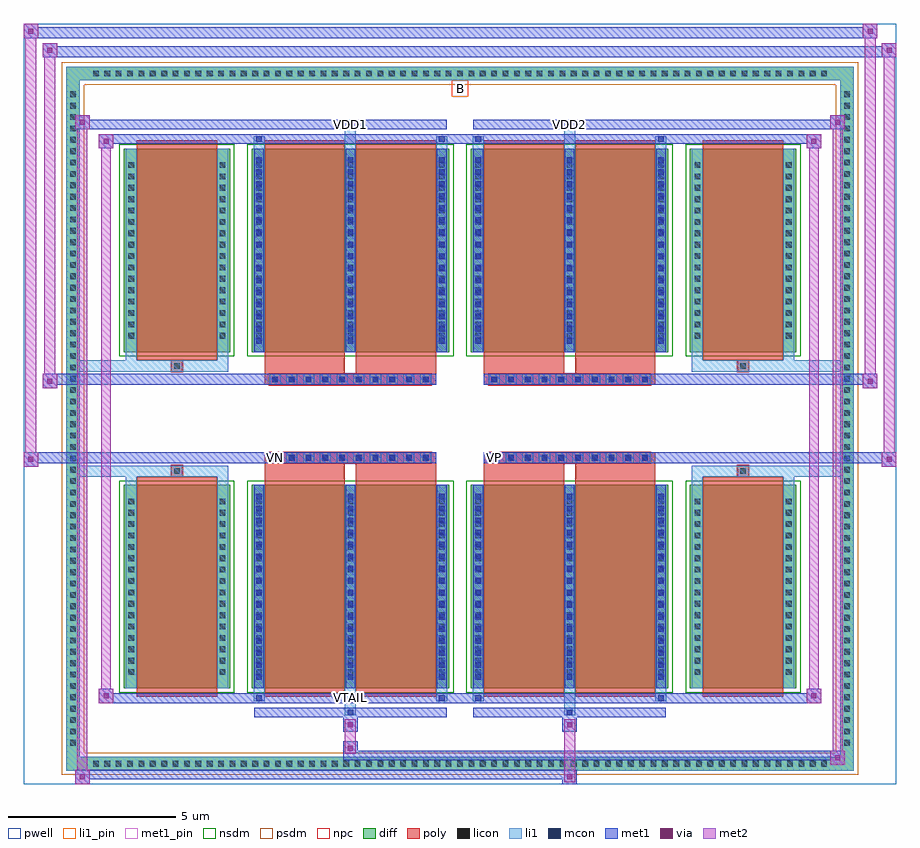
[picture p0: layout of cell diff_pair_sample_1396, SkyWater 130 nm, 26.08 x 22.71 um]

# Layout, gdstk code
import gdstk
lib = gdstk.Library(unit=1e-6, precision=5e-09)
def R(c, l, rs):  # rectangles x0, y0, x1, y1
    for r in rs: c.add(gdstk.rectangle(r[:2], r[2:], *l))
def A(c, l, x, y, w, h, nx, ny, dx, dy):  # array of equal rectangles
    R(c, l, [(x+i*dx, y+j*dy, x+i*dx+w, y+j*dy+h) for i in range(nx) for j in range(ny)])
def P(c, l, *ps):  # polygons
    for p in ps: c.add(gdstk.Polygon(p, *l))
pwell = (64, 44)
diff = (65, 20)
poly = (66, 20)
licon = (66, 44)
li1_pin = (67, 16)
li1 = (67, 20)
mcon = (67, 44)
met1_pin = (68, 16)
met1 = (68, 20)
via = (68, 44)
met2 = (69, 20)
nsdm = (93, 44)
psdm = (94, 20)
npc = (95, 20)

diff_pair_sample_1396 = lib.new_cell('diff_pair_sample_1396')
R(diff_pair_sample_1396, pwell, [(-13.04,-10.92,13.04,11.79), (-10.36,-9.11,-0.01,-0.805), (0.01,-9.11,10.36,-0.805), (-10.36,0.805,-0.01,9.11), (0.01,0.805,10.36,9.11)])
A(diff_pair_sample_1396, diff, -11.085, -10.52, 0.41, 0.41, 65, 2, 0.34, 20.63)
A(diff_pair_sample_1396, diff, -11.77, -9.895, 0.41, 0.41, 1, 58, 0, 0.34)
A(diff_pair_sample_1396, diff, 11.36, -9.895, 0.41, 0.41, 1, 58, 0, 0.34)
R(diff_pair_sample_1396, diff, [(-11.085,-10.52,11.085,-10.11), (-11.77,-9.895,-11.36,9.895), (11.36,-9.895,11.77,9.895), (-10.05,-8.065,-6.87,-1.985), (-6.23,-8.065,-0.32,-1.985), (0.32,-8.065,6.23,-1.985), (6.87,-8.065,10.05,-1.985), (-10.05,1.985,-6.87,8.065), (-6.23,1.985,-0.32,8.065), (0.32,1.985,6.23,8.065), (6.87,1.985,10.05,8.065), (-11.085,10.11,11.085,10.52)])
P(diff_pair_sample_1396, diff, [(11.77,10.52),(-11.77,10.52),(-11.77,-10.11),(-11.36,-10.11),(-11.36,10.11),(11.36,10.11),(11.36,-10.11),(-11.36,-10.11),(-11.77,-10.11),(-11.77,-10.52),(11.77,-10.52)])
A(diff_pair_sample_1396, poly, -5.69, -1.335, 0.33, 0.33, 10, 2, 0.5, 2.34)
A(diff_pair_sample_1396, poly, 0.86, -1.335, 0.33, 0.33, 10, 2, 0.5, 2.34)
R(diff_pair_sample_1396, poly, [(-9.66,-8.315,-7.26,-1.735), (-5.84,-8.315,-3.44,-1.735), (-3.11,-8.315,-0.71,-1.735), (0.71,-8.315,3.11,-1.735), (3.44,-8.315,5.84,-1.735), (7.26,-8.315,9.66,-1.735), (-8.625,-1.735,-8.295,-1.405), (-8.625,-1.735,-8.295,-1.405), (-5.84,-1.735,-3.44,-1.335), (-3.11,-1.735,-0.71,-1.335), (0.71,-1.735,3.11,-1.335), (3.44,-1.735,5.84,-1.335), (8.295,-1.735,8.625,-1.405), (8.295,-1.735,8.625,-1.405), (-5.84,-1.335,-0.71,-1.005), (0.71,-1.335,5.84,-1.005), (-5.84,1.005,-0.71,1.335), (0.71,1.005,5.84,1.335), (-5.84,1.335,-3.44,1.735), (-3.11,1.335,-0.71,1.735), (0.71,1.335,3.11,1.735), (3.44,1.335,5.84,1.735), (-8.625,1.405,-8.295,1.735), (-8.625,1.405,-8.295,1.735), (8.295,1.405,8.625,1.735), (8.295,1.405,8.625,1.735), (-9.66,1.735,-7.26,8.315), (-5.84,1.735,-3.44,8.315), (-3.11,1.735,-0.71,8.315), (0.71,1.735,3.11,8.315), (3.44,1.735,5.84,8.315), (7.26,1.735,9.66,8.315)])
A(diff_pair_sample_1396, licon, -10.965, -10.4, 0.17, 0.17, 65, 2, 0.34, 20.63)
A(diff_pair_sample_1396, licon, -11.65, -9.775, 0.17, 0.17, 1, 58, 0, 0.34)
A(diff_pair_sample_1396, licon, 11.48, -9.775, 0.17, 0.17, 1, 58, 0, 0.34)
A(diff_pair_sample_1396, licon, -9.91, -7.66, 0.17, 0.17, 1, 16, 0, 0.34)
A(diff_pair_sample_1396, licon, -7.18, -7.66, 0.17, 0.17, 1, 16, 0, 0.34)
A(diff_pair_sample_1396, licon, -6.09, -7.66, 0.17, 0.17, 3, 16, 2.73, 0.34)
A(diff_pair_sample_1396, licon, 0.46, -7.66, 0.17, 0.17, 3, 16, 2.73, 0.34)
A(diff_pair_sample_1396, licon, 7.01, -7.66, 0.17, 0.17, 1, 16, 0, 0.34)
A(diff_pair_sample_1396, licon, 9.74, -7.66, 0.17, 0.17, 1, 16, 0, 0.34)
A(diff_pair_sample_1396, licon, -5.61, -1.255, 0.17, 0.17, 10, 2, 0.5, 2.34)
A(diff_pair_sample_1396, licon, 0.94, -1.255, 0.17, 0.17, 10, 2, 0.5, 2.34)
A(diff_pair_sample_1396, licon, -9.91, 2.39, 0.17, 0.17, 1, 16, 0, 0.34)
A(diff_pair_sample_1396, licon, -7.18, 2.39, 0.17, 0.17, 1, 16, 0, 0.34)
A(diff_pair_sample_1396, licon, -6.09, 2.39, 0.17, 0.17, 3, 16, 2.73, 0.34)
A(diff_pair_sample_1396, licon, 0.46, 2.39, 0.17, 0.17, 3, 16, 2.73, 0.34)
A(diff_pair_sample_1396, licon, 7.01, 2.39, 0.17, 0.17, 1, 16, 0, 0.34)
A(diff_pair_sample_1396, licon, 9.74, 2.39, 0.17, 0.17, 1, 16, 0, 0.34)
R(diff_pair_sample_1396, licon, [(-8.545,-1.655,-8.375,-1.485), (8.375,-1.655,8.545,-1.485), (-8.545,1.485,-8.375,1.655), (8.375,1.485,8.545,1.655)])
R(diff_pair_sample_1396, li1_pin, [(-0.25,9.61,0.25,10.11)])
A(diff_pair_sample_1396, li1, -11.045, -10.48, 0.33, 0.33, 65, 2, 0.34, 20.63)
A(diff_pair_sample_1396, li1, -11.73, -9.855, 0.33, 0.33, 1, 58, 0, 0.34)
A(diff_pair_sample_1396, li1, 11.4, -9.855, 0.33, 0.33, 1, 58, 0, 0.34)
A(diff_pair_sample_1396, li1, -6.17, -8.065, 0.33, 6.08, 3, 2, 2.73, 10.05)
A(diff_pair_sample_1396, li1, 0.38, -8.065, 0.33, 6.08, 3, 2, 2.73, 10.05)
A(diff_pair_sample_1396, li1, -6.09, -7.81, 0.17, 0.17, 3, 16, 2.73, 0.36)
A(diff_pair_sample_1396, li1, -6.09, -7.81, 0.17, 5.57, 3, 2, 2.73, 10.05)
A(diff_pair_sample_1396, li1, 0.46, -7.81, 0.17, 0.17, 3, 16, 2.73, 0.36)
A(diff_pair_sample_1396, li1, 0.46, -7.81, 0.17, 5.57, 3, 2, 2.73, 10.05)
A(diff_pair_sample_1396, li1, -9.99, -7.74, 0.33, 0.33, 1, 16, 0, 0.34)
A(diff_pair_sample_1396, li1, -7.26, -7.74, 0.33, 0.33, 1, 16, 0, 0.34)
A(diff_pair_sample_1396, li1, -6.17, -7.74, 0.33, 0.33, 3, 16, 2.73, 0.34)
A(diff_pair_sample_1396, li1, 0.38, -7.74, 0.33, 0.33, 3, 16, 2.73, 0.34)
A(diff_pair_sample_1396, li1, 6.93, -7.74, 0.33, 0.33, 1, 16, 0, 0.34)
A(diff_pair_sample_1396, li1, 9.66, -7.74, 0.33, 0.33, 1, 16, 0, 0.34)
A(diff_pair_sample_1396, li1, -5.69, -1.335, 0.33, 0.33, 10, 2, 0.5, 2.34)
A(diff_pair_sample_1396, li1, 0.86, -1.335, 0.33, 0.33, 10, 2, 0.5, 2.34)
A(diff_pair_sample_1396, li1, -6.09, 2.24, 0.17, 0.17, 3, 16, 2.73, 0.36)
A(diff_pair_sample_1396, li1, 0.46, 2.24, 0.17, 0.17, 3, 16, 2.73, 0.36)
A(diff_pair_sample_1396, li1, -9.99, 2.31, 0.33, 0.33, 1, 16, 0, 0.34)
A(diff_pair_sample_1396, li1, -7.26, 2.31, 0.33, 0.33, 1, 16, 0, 0.34)
A(diff_pair_sample_1396, li1, -6.17, 2.31, 0.33, 0.33, 3, 16, 2.73, 0.34)
A(diff_pair_sample_1396, li1, 0.38, 2.31, 0.33, 0.33, 3, 16, 2.73, 0.34)
A(diff_pair_sample_1396, li1, 6.93, 2.31, 0.33, 0.33, 1, 16, 0, 0.34)
A(diff_pair_sample_1396, li1, 9.66, 2.31, 0.33, 0.33, 1, 16, 0, 0.34)
R(diff_pair_sample_1396, li1, [(-11.77,-10.52,-11.36,-10.11), (-11.77,-10.52,-11.36,-10.11), (-11.36,-10.52,11.36,-10.11), (11.36,-10.52,11.77,-10.11), (11.36,-10.52,11.77,-10.11), (-11.77,-10.11,-11.36,10.11), (11.36,-10.11,11.77,10.11), (-3.44,-8.87,-3.11,-8.065), (-3.36,-8.87,-3.19,-8.7), (3.11,-8.87,3.44,-8.065), (3.19,-8.87,3.36,-8.7), (-6.17,-8.44,-5.84,-8.065), (-6.09,-8.44,-5.92,-8.27), (-0.71,-8.44,-0.38,-8.065), (-0.63,-8.44,-0.46,-8.27), (0.38,-8.44,0.71,-8.065), (0.46,-8.44,0.63,-8.27), (5.84,-8.44,6.17,-8.065), (5.92,-8.44,6.09,-8.27), (-9.99,-8.065,-9.66,-1.985), (-7.26,-8.065,-6.93,-1.985), (6.93,-8.065,7.26,-1.985), (9.66,-8.065,9.99,-1.985), (-9.99,-1.985,-9.66,-1.405), (-7.26,-1.985,-6.93,-1.405), (6.93,-1.985,7.26,-1.405), (9.66,-1.985,9.99,-1.405), (-11.77,-1.735,-8.625,-1.405), (-9.99,-1.735,-8.625,-1.405), (-8.625,-1.735,-8.295,-1.405), (-8.295,-1.735,-6.93,-1.405), (6.93,-1.735,8.295,-1.405), (8.295,-1.735,8.625,-1.405), (8.295,-1.735,11.77,-1.405), (8.625,-1.735,9.99,-1.405), (-11.77,1.405,-8.625,1.735), (-9.99,1.405,-8.625,1.735), (-9.99,1.405,-9.66,1.985), (-8.625,1.405,-8.295,1.735), (-8.295,1.405,-6.93,1.735), (-7.26,1.405,-6.93,1.985), (6.93,1.405,8.295,1.735), (6.93,1.405,7.26,1.985), (8.295,1.405,8.625,1.735), (8.295,1.405,11.77,1.735), (8.625,1.405,9.99,1.735), (9.66,1.405,9.99,1.985), (-9.99,1.985,-9.66,8.065), (-7.26,1.985,-6.93,8.065), (6.93,1.985,7.26,8.065), (9.66,1.985,9.99,8.065), (-6.17,8.065,-5.84,8.44), (-3.44,8.065,-3.11,8.87), (-0.71,8.065,-0.38,8.44), (0.38,8.065,0.71,8.44), (3.11,8.065,3.44,8.87), (5.84,8.065,6.17,8.44), (-6.09,8.27,-5.92,8.44), (-0.63,8.27,-0.46,8.44), (0.46,8.27,0.63,8.44), (5.92,8.27,6.09,8.44), (-3.36,8.7,-3.19,8.87), (3.19,8.7,3.36,8.87), (-11.77,10.11,-11.36,10.52), (-11.77,10.11,-11.36,10.52), (-11.36,10.11,11.36,10.52), (11.36,10.11,11.77,10.52), (11.36,10.11,11.77,10.52)])
A(diff_pair_sample_1396, mcon, -6.09, -7.81, 0.17, 0.17, 3, 16, 2.73, 0.36)
A(diff_pair_sample_1396, mcon, 0.46, -7.81, 0.17, 0.17, 3, 16, 2.73, 0.36)
A(diff_pair_sample_1396, mcon, -5.61, -1.255, 0.17, 0.17, 10, 2, 0.5, 2.34)
A(diff_pair_sample_1396, mcon, 0.94, -1.255, 0.17, 0.17, 10, 2, 0.5, 2.34)
A(diff_pair_sample_1396, mcon, -6.09, 2.24, 0.17, 0.17, 3, 16, 2.73, 0.36)
A(diff_pair_sample_1396, mcon, 0.46, 2.24, 0.17, 0.17, 3, 16, 2.73, 0.36)
R(diff_pair_sample_1396, mcon, [(-3.36,-8.87,-3.19,-8.7), (3.19,-8.87,3.36,-8.7), (-6.09,-8.44,-5.92,-8.27), (-0.63,-8.44,-0.46,-8.27), (0.46,-8.44,0.63,-8.27), (5.92,-8.44,6.09,-8.27), (-6.09,8.27,-5.92,8.44), (-0.63,8.27,-0.46,8.44), (0.46,8.27,0.63,8.44), (5.92,8.27,6.09,8.44), (-3.36,8.7,-3.19,8.87), (3.19,8.7,3.36,8.87)])
R(diff_pair_sample_1396, met1_pin, [(-3.41,-8.48,-3.14,-8.21), (-5.66,-1.295,-5.39,-1.025), (0.89,-1.295,1.16,-1.025), (-3.41,8.66,-3.14,8.93), (3.14,8.66,3.41,8.93)])
A(diff_pair_sample_1396, met1, -6.15, -8.065, 0.29, 6.08, 3, 2, 2.73, 10.05)
A(diff_pair_sample_1396, met1, 0.4, -8.065, 0.29, 6.08, 3, 2, 2.73, 10.05)
A(diff_pair_sample_1396, met1, -6.15, -7.87, 0.29, 0.29, 3, 16, 2.73, 0.36)
A(diff_pair_sample_1396, met1, 0.4, -7.87, 0.29, 0.29, 3, 16, 2.73, 0.36)
A(diff_pair_sample_1396, met1, -5.67, -1.315, 0.29, 0.29, 10, 2, 0.5, 2.34)
A(diff_pair_sample_1396, met1, 0.88, -1.315, 0.29, 0.29, 10, 2, 0.5, 2.34)
A(diff_pair_sample_1396, met1, -6.15, 2.18, 0.29, 0.29, 3, 16, 2.73, 0.36)
A(diff_pair_sample_1396, met1, 0.4, 2.18, 0.29, 0.29, 3, 16, 2.73, 0.36)
R(diff_pair_sample_1396, met1, [(-11.5,-10.92,-11.07,-10.49), (3.06,-10.92,3.49,-10.49), (-11.5,-10.78,3.49,-10.49), (11.07,-10.35,11.5,-9.92), (-3.49,-10.21,11.5,-9.92), (-3.49,-10.07,-3.06,-9.64), (-3.49,-9.36,-3.06,-8.93), (3.06,-9.36,3.49,-8.93), (-6.15,-8.93,-0.4,-8.64), (-3.42,-8.93,-3.13,-8.64), (0.4,-8.93,6.15,-8.64), (3.13,-8.93,3.42,-8.64), (-10.79,-8.5,-10.36,-8.07), (-10.79,-8.5,-6.15,-8.21), (-6.15,-8.5,-5.86,-8.21), (-6.15,-8.5,-0.4,-8.21), (-0.69,-8.5,-0.4,-8.21), (-0.4,-8.5,0.4,-8.21), (0.4,-8.5,0.69,-8.21), (0.4,-8.5,6.15,-8.21), (5.86,-8.5,6.15,-8.21), (6.15,-8.5,10.79,-8.21), (10.36,-8.5,10.79,-8.07), (-13.04,-1.435,-12.61,-1.005), (12.61,-1.435,13.04,-1.005), (-13.04,-1.335,-0.71,-1.005), (-5.84,-1.335,-0.71,-1.005), (0.71,-1.335,5.84,-1.005), (0.71,-1.335,13.04,-1.005), (-12.47,0.905,-12.04,1.335), (12.04,0.905,12.47,1.335), (-12.47,1.005,-5.84,1.335), (-5.84,1.005,-0.71,1.335), (0.71,1.005,5.84,1.335), (5.84,1.005,12.47,1.335), (-10.79,8.07,-10.36,8.5), (10.36,8.07,10.79,8.5), (-10.79,8.21,-6.15,8.5), (-6.15,8.21,-5.86,8.5), (-6.15,8.21,-0.4,8.5), (-0.69,8.21,-0.4,8.5), (-0.4,8.21,0.4,8.5), (0.4,8.21,0.69,8.5), (0.4,8.21,6.15,8.5), (5.86,8.21,6.15,8.5), (6.15,8.21,10.79,8.5), (-11.5,8.64,-11.07,9.07), (-11.5,8.64,-6.15,8.93), (-6.15,8.64,-0.4,8.93), (-3.42,8.64,-3.13,8.93), (0.4,8.64,6.15,8.93), (3.13,8.64,3.42,8.93), (6.15,8.64,11.5,8.93), (11.07,8.64,11.5,9.07), (-12.47,10.79,-12.04,11.22), (-12.47,10.79,-10.36,11.12), (-10.36,10.79,10.36,11.12), (10.36,10.79,13.04,11.12), (12.61,10.79,13.04,11.22), (-13.04,11.36,-12.61,11.79), (-13.04,11.36,-10.36,11.69), (-10.36,11.36,10.36,11.69), (10.36,11.36,12.47,11.69), (12.04,11.36,12.47,11.79)])
R(diff_pair_sample_1396, via, [(-11.36,-10.78,-11.21,-10.63), (3.2,-10.78,3.35,-10.63), (11.21,-10.21,11.36,-10.06), (-3.35,-9.93,-3.2,-9.78), (-3.35,-9.22,-3.2,-9.07), (3.2,-9.22,3.35,-9.07), (-10.65,-8.36,-10.5,-8.21), (10.5,-8.36,10.65,-8.21), (-12.9,-1.295,-12.75,-1.145), (12.75,-1.295,12.9,-1.145), (-12.33,1.045,-12.18,1.195), (12.18,1.045,12.33,1.195), (-10.65,8.21,-10.5,8.36), (10.5,8.21,10.65,8.36), (-11.36,8.78,-11.21,8.93), (11.21,8.78,11.36,8.93), (-12.33,10.93,-12.18,11.08), (12.75,10.93,12.9,11.08), (-12.9,11.5,-12.75,11.65), (12.18,11.5,12.33,11.65)])
R(diff_pair_sample_1396, met2, [(-11.5,-10.92,-11.07,-10.49), (-11.43,-10.92,-11.14,9.07), (-11.14,-10.92,-11.07,-10.49), (-11.45,-10.87,-11.12,-10.54), (3.11,-10.87,3.44,-10.54), (3.11,-10.54,3.44,-9.31), (11.07,-10.35,11.5,-9.92), (11.14,-10.35,11.43,9.07), (11.43,-10.35,11.5,-9.92), (11.12,-10.3,11.45,-9.97), (-3.44,-10.02,-3.11,-9.69), (-3.44,-9.69,-3.11,-9.31), (-3.44,-9.31,-3.11,-8.98), (3.11,-9.31,3.44,-8.98), (-10.79,-8.5,-10.36,-8.07), (-10.72,-8.5,-10.43,8.5), (-10.43,-8.5,-10.36,-8.07), (10.36,-8.5,10.79,-8.07), (10.43,-8.5,10.72,8.5), (10.72,-8.5,10.79,-8.07), (-10.74,-8.45,-10.41,-8.12), (10.41,-8.45,10.74,-8.12), (-13.04,-1.435,-12.61,-1.005), (-12.99,-1.435,-12.66,11.79), (-12.66,-1.435,-12.61,-1.005), (12.61,-1.435,13.04,-1.005), (12.66,-1.435,12.99,11.22), (12.99,-1.435,13.04,-1.005), (-12.99,-1.385,-12.66,-1.055), (12.66,-1.385,12.99,-1.055), (-12.47,0.905,-12.04,1.335), (-12.42,0.905,-12.09,11.22), (-12.09,0.905,-12.04,1.335), (12.04,0.905,12.47,1.335), (12.09,0.905,12.42,11.79), (12.42,0.905,12.47,1.335), (-12.42,0.955,-12.09,1.285), (12.09,0.955,12.42,1.285), (-10.79,8.07,-10.36,8.5), (-10.43,8.07,-10.36,8.5), (10.36,8.07,10.79,8.5), (10.72,8.07,10.79,8.5), (-10.74,8.12,-10.41,8.45), (10.41,8.12,10.74,8.45), (-11.5,8.64,-11.07,9.07), (-11.14,8.64,-11.07,9.07), (11.07,8.64,11.5,9.07), (11.43,8.64,11.5,9.07), (-11.45,8.69,-11.12,9.02), (11.12,8.69,11.45,9.02), (-12.47,10.79,-12.04,11.22), (-12.09,10.79,-12.04,11.22), (12.61,10.79,13.04,11.22), (12.99,10.79,13.04,11.22), (-12.42,10.84,-12.09,11.17), (12.66,10.84,12.99,11.17), (-13.04,11.36,-12.61,11.79), (-12.66,11.36,-12.61,11.79), (12.04,11.36,12.47,11.79), (12.42,11.36,12.47,11.79), (-12.99,11.41,-12.66,11.74), (12.09,11.41,12.42,11.74)])
R(diff_pair_sample_1396, nsdm, [(-10.18,-8.195,-6.74,-1.855), (-6.36,-8.195,-0.19,-1.855), (0.19,-8.195,6.36,-1.855), (6.74,-8.195,10.18,-1.855), (-10.18,1.855,-6.74,8.195), (-6.36,1.855,-0.19,8.195), (0.19,1.855,6.36,8.195), (6.74,1.855,10.18,8.195)])
P(diff_pair_sample_1396, psdm, [(11.9,10.65),(-11.9,10.65),(-11.9,-9.98),(-11.23,-9.98),(-11.23,9.98),(11.23,9.98),(11.23,-9.98),(-11.23,-9.98),(-11.9,-9.98),(-11.9,-10.65),(11.9,-10.65)])
A(diff_pair_sample_1396, npc, -5.71, -1.355, 0.37, 0.37, 10, 2, 0.5, 2.34)
A(diff_pair_sample_1396, npc, 0.84, -1.355, 0.37, 0.37, 10, 2, 0.5, 2.34)
R(diff_pair_sample_1396, npc, [(-8.645,-1.755,-8.275,-1.385), (8.275,-1.755,8.645,-1.385), (-5.71,-1.355,-4.84,-0.985), (-5.71,-1.355,-4.84,-0.985), (-5.21,-1.355,-4.34,-0.985), (-5.21,-1.355,-4.34,-0.985), (-4.71,-1.355,-3.84,-0.985), (-4.71,-1.355,-3.84,-0.985), (-4.21,-1.355,-3.34,-0.985), (-4.21,-1.355,-3.34,-0.985), (-3.71,-1.355,-2.84,-0.985), (-3.71,-1.355,-2.84,-0.985), (-3.21,-1.355,-2.34,-0.985), (-3.21,-1.355,-2.34,-0.985), (-2.71,-1.355,-1.84,-0.985), (-2.71,-1.355,-1.84,-0.985), (-2.21,-1.355,-1.34,-0.985), (-2.21,-1.355,-1.34,-0.985), (-1.71,-1.355,-0.84,-0.985), (-1.71,-1.355,-0.84,-0.985), (0.84,-1.355,1.71,-0.985), (0.84,-1.355,1.71,-0.985), (1.34,-1.355,2.21,-0.985), (1.34,-1.355,2.21,-0.985), (1.84,-1.355,2.71,-0.985), (1.84,-1.355,2.71,-0.985), (2.34,-1.355,3.21,-0.985), (2.34,-1.355,3.21,-0.985), (2.84,-1.355,3.71,-0.985), (2.84,-1.355,3.71,-0.985), (3.34,-1.355,4.21,-0.985), (3.34,-1.355,4.21,-0.985), (3.84,-1.355,4.71,-0.985), (3.84,-1.355,4.71,-0.985), (4.34,-1.355,5.21,-0.985), (4.34,-1.355,5.21,-0.985), (4.84,-1.355,5.71,-0.985), (4.84,-1.355,5.71,-0.985), (-5.71,0.985,-4.84,1.355), (-5.71,0.985,-4.84,1.355), (-5.21,0.985,-4.34,1.355), (-5.21,0.985,-4.34,1.355), (-4.71,0.985,-3.84,1.355), (-4.71,0.985,-3.84,1.355), (-4.21,0.985,-3.34,1.355), (-4.21,0.985,-3.34,1.355), (-3.71,0.985,-2.84,1.355), (-3.71,0.985,-2.84,1.355), (-3.21,0.985,-2.34,1.355), (-3.21,0.985,-2.34,1.355), (-2.71,0.985,-1.84,1.355), (-2.71,0.985,-1.84,1.355), (-2.21,0.985,-1.34,1.355), (-2.21,0.985,-1.34,1.355), (-1.71,0.985,-0.84,1.355), (-1.71,0.985,-0.84,1.355), (0.84,0.985,1.71,1.355), (0.84,0.985,1.71,1.355), (1.34,0.985,2.21,1.355), (1.34,0.985,2.21,1.355), (1.84,0.985,2.71,1.355), (1.84,0.985,2.71,1.355), (2.34,0.985,3.21,1.355), (2.34,0.985,3.21,1.355), (2.84,0.985,3.71,1.355), (2.84,0.985,3.71,1.355), (3.34,0.985,4.21,1.355), (3.34,0.985,4.21,1.355), (3.84,0.985,4.71,1.355), (3.84,0.985,4.71,1.355), (4.34,0.985,5.21,1.355), (4.34,0.985,5.21,1.355), (4.84,0.985,5.71,1.355), (4.84,0.985,5.71,1.355), (-8.645,1.385,-8.275,1.755), (8.275,1.385,8.645,1.755)])
diff_pair_sample_1396.add(gdstk.Label('VTAIL', (-3.275,-8.345), layer=68, texttype=5))
diff_pair_sample_1396.add(gdstk.Label('VN', (-5.525,-1.16), layer=68, texttype=5))
diff_pair_sample_1396.add(gdstk.Label('VP', (1.025,-1.16), layer=68, texttype=5))
diff_pair_sample_1396.add(gdstk.Label('B', (0,9.86), layer=67, texttype=5))
diff_pair_sample_1396.add(gdstk.Label('VDD2', (3.275,8.795), layer=68, texttype=5))
diff_pair_sample_1396.add(gdstk.Label('VDD1', (-3.275,8.795), layer=68, texttype=5))

lib.write_gds('diff_pair_sample_1396.gds')
